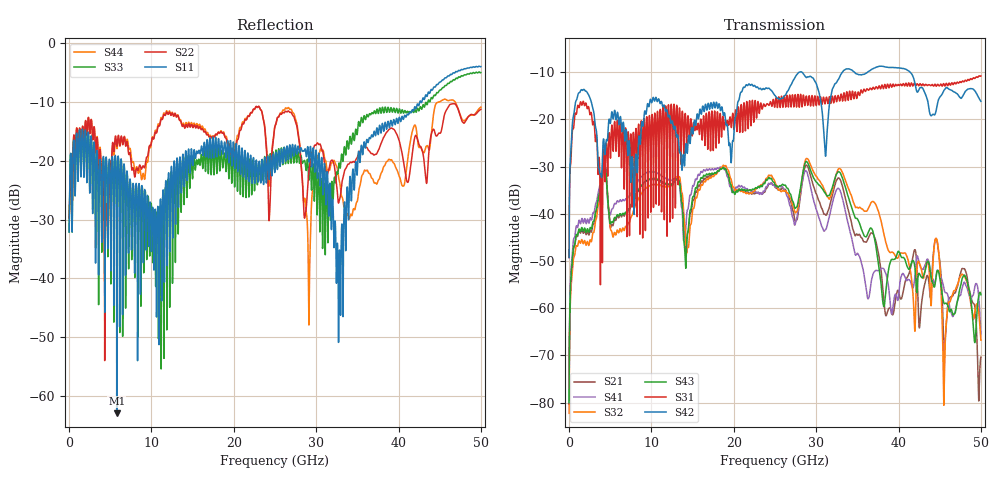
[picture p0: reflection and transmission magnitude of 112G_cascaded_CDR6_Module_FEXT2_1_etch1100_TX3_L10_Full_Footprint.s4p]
! Created Tue Feb 26 13:35:42 2019
# hz S ma R 50
! 4 Port Network Data from SP1.SP block
! freq  magS11  angS11  magS12  angS12  magS13  angS13  magS14  angS14
!  magS21  angS21  magS22  angS22  magS23  angS23  magS24  angS24
!  magS31  angS31  magS32  angS32  magS33  angS33  magS34  angS34
!  magS41  angS41  magS42  angS42  magS43  angS43  magS44  angS44
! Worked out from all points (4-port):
!   5000 points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, 10 MHz to 50 GHz, reference 50 ohm
!   strongest paths, dB at 10 MHz, 12.51 GHz, 25.01 GHz, 37.51 GHz, 50 GHz:
!     S42: -49.3, -20.3, -14.9, -8.8, -16.1
!     S31: -49.3, -21.7, -17.0, -13.4, -10.8
!     S43: -80.1, -33.9, -33.8, -49.9, -57.1
!     S32: -82.3, -33.9, -33.3, -39.2, -66.8
!     S41: -78.5, -33.0, -34.3, -52.0, -65.4
!     S21: -80.4, -33.6, -34.3, -47.8, -70.4
!   lowest |S11| = -63.0 dB at 5.79 GHz (marker M1), VSWR 1.00, Z = 50.1 + j0.0495 ohm
!   |S11| at or under -10 dB: start of sweep to 42.58 GHz; 42.73926 GHz to 42.82587 GHz (86.6 MHz wide, 0.202 % of centre)
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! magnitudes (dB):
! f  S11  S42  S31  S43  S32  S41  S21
! 10 MHz  -32.1  -49.3  -49.3  -80.1  -82.3  -78.5  -80.4
! 1.23 GHz  -15.2  -14.3  -17.5  -43.2  -45.7  -41.3  -43.6
! 5.79 GHz  -63.0  -19.4  -22.1  -40.4  -43.7  -37.5  -40.6
! 32.76 GHz  -41.0  -11.4  -15.4  -31.1  -30.4  -34.7  -32.4
! 38.19 GHz  -14.9  -8.8  -13.4  -59.6  -44.0  -51.6  -57.7
! 44.57 GHz  -7.1  -18.1  -13.0  -53.1  -45.2  -53.0  -45.3
! 50 GHz  -3.9  -16.1  -10.8  -57.1  -66.8  -65.4  -70.4
